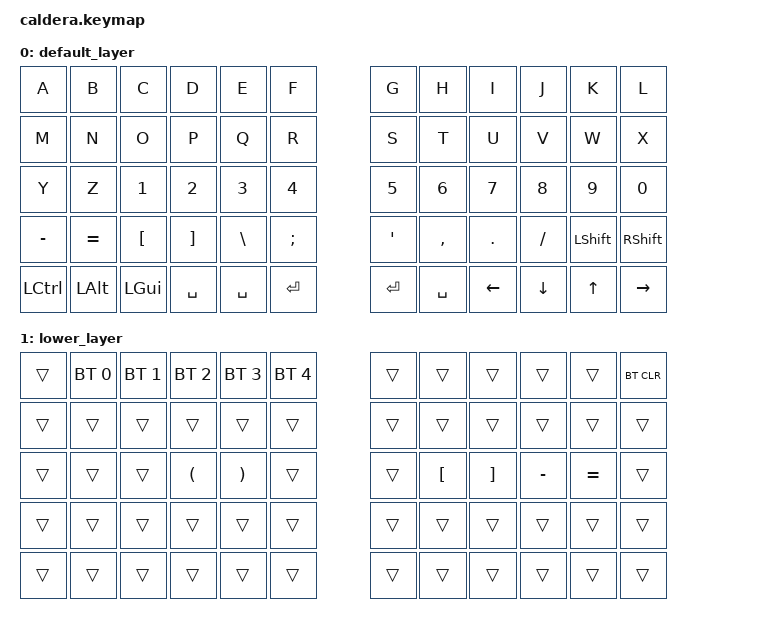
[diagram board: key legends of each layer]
/*
 * Copyright (c) 2023 The ZMK Contributors
 * SPDX-License-Identifier: MIT
 */

#include <behaviors.dtsi>
#include <dt-bindings/zmk/keys.h>
#include <dt-bindings/zmk/bt.h>

/ {
    keymap {
        compatible = "zmk,keymap";

        default_layer {
            // Test keymap - press each key and note what it outputs
            // to figure out the correct matrix mapping
            bindings = <
   &kp A &kp B &kp C &kp D &kp E &kp F                          &kp G &kp H &kp I &kp J &kp K &kp L
   &kp M &kp N &kp O &kp P &kp Q &kp R                          &kp S &kp T &kp U &kp V &kp W &kp X
   &kp Y &kp Z &kp N1 &kp N2 &kp N3 &kp N4                      &kp N5 &kp N6 &kp N7 &kp N8 &kp N9 &kp N0
   &kp MINUS &kp EQUAL &kp LBKT &kp RBKT &kp BSLH &kp SEMI    &kp QUOT &kp COMMA &kp DOT &kp FSLH &kp LSHFT &kp RSHFT
   &kp LCTRL &kp LALT &kp LGUI &kp SPACE &kp SPACE &kp RET     &kp RET &kp SPACE &kp LEFT &kp DOWN &kp UP &kp RIGHT
            >;
        };

        lower_layer {
// --------------------------------------------------------------------------------------------------------
// | | BT1 | BT2 | BT3 | BT4 | BT5 | | | | | | | BTCLR |
// | | | | | | | | | | | | | |
// | | | | LPAR | RPAR | | | | LBKT | RBKT | | | |
// | | | | | | | | | | | | | |

            bindings = <
   &trans    &bt BT_SEL 0   &bt BT_SEL 1   &bt BT_SEL 2   &bt BT_SEL 3   &bt BT_SEL 4         &trans    &trans    &trans   &trans   &trans  &bt BT_CLR
   &trans    &trans         &trans         &trans         &trans         &trans               &trans    &trans    &trans   &trans   &trans  &trans
   &trans    &trans         &trans         &kp LPAR       &kp RPAR       &trans               &trans    &kp LBKT  &kp RBKT &kp MINUS &kp EQUAL &trans
   &trans    &trans         &trans         &trans         &trans         &trans               &trans    &trans    &trans   &trans   &trans  &trans
   &trans    &trans         &trans         &trans         &trans         &trans               &trans    &trans    &trans   &trans   &trans  &trans
            >;
        };
    };
};
